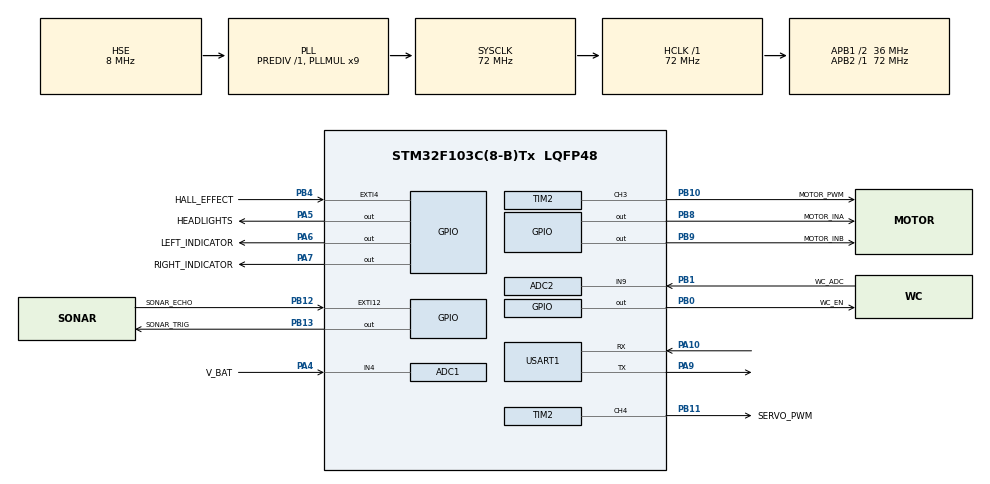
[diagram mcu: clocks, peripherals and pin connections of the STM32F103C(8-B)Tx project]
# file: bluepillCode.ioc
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Mcu.Family=STM32F1
NVIC.ADC1_2_IRQn=true\:0\:0\:false\:false\:true\:true\:true
Dma.USART1_TX.2.Direction=DMA_MEMORY_TO_PERIPH
NVIC.DMA1_Channel5_IRQn=true\:0\:0\:false\:false\:true\:false\:true
ADC1.ContinuousConvMode=ENABLE
ADC2.Channel-0\#ChannelRegularConversion=ADC_CHANNEL_9
PB0.GPIO_Label=WC_EN
PA6.GPIO_Label=LEFT_INDICATOR
NVIC.TIM1_UP_IRQn=true\:0\:0\:false\:false\:true\:false\:true
PB13.GPIO_Label=SONAR_TRIG
PB11.Signal=S_TIM2_CH4
PB13.Signal=GPIO_Output
RCC.SYSCLKSource=RCC_SYSCLKSOURCE_PLLCLK
ProjectManager.StackSize=0x400
PD1-OSC_OUT.Signal=RCC_OSC_OUT
TIM2.Pulse-PWM\ Generation3\ CH3=4918
RCC.HCLKFreq_Value=72000000
RCC.APB2TimFreq_Value=72000000
Dma.ADC1.0.Direction=DMA_PERIPH_TO_MEMORY
Dma.USART1_RX.1.MemInc=DMA_MINC_ENABLE
Dma.ADC1.0.MemDataAlignment=DMA_MDATAALIGN_HALFWORD
RCC.AHBFreq_Value=72000000
NVIC.EXTI15_10_IRQn=true\:0\:0\:false\:false\:true\:true\:true
ADC1.Channel-0\#ChannelRegularConversion=ADC_CHANNEL_4
Dma.USART1_RX.1.PeriphDataAlignment=DMA_PDATAALIGN_BYTE
TIM2.OCMode_PWM-PWM\ Generation3\ CH3=TIM_OCMODE_PWM1
RCC.PLLMUL=RCC_PLL_MUL9
PB12.GPIO_Label=SONAR_ECHO
PA14.Mode=Serial_Wire
VP_SYS_VS_tim1.Mode=TIM1
TIM3.Prescaler=72-1
Dma.ADC1.0.PeriphInc=DMA_PINC_DISABLE
PB1.GPIO_Label=WC_ADC
Dma.USART1_TX.2.PeriphDataAlignment=DMA_PDATAALIGN_BYTE
Dma.USART1_TX.2.MemDataAlignment=DMA_MDATAALIGN_BYTE
ADC1.SamplingTime-0\#ChannelRegularConversion=ADC_SAMPLETIME_1CYCLE_5
Dma.USART1_RX.1.Mode=DMA_CIRCULAR
Mcu.Package=LQFP48
PB9.Signal=GPIO_Output
TIM2.Prescaler=72-1
PA6.Signal=GPIO_Output
PB1.Signal=SharedAnalog_PB1
NVIC.TimeBase=TIM1_UP_IRQn
RCC.EnbaleCSS=true
NVIC.TimeBaseIP=TIM1
PA10.Signal=USART1_RX
ADC2.SamplingTime-0\#ChannelRegularConversion=ADC_SAMPLETIME_1CYCLE_5
Dma.USART1_RX.1.PeriphInc=DMA_PINC_DISABLE
Dma.Request2=USART1_TX
Dma.Request1=USART1_RX
RCC.APB1TimFreq_Value=72000000
Dma.USART1_RX.1.Priority=DMA_PRIORITY_LOW
NVIC.DMA1_Channel4_IRQn=true\:0\:0\:false\:false\:true\:false\:true
ADC2.Rank-0\#ChannelRegularConversion=1
NVIC.USART1_IRQn=true\:0\:0\:false\:false\:true\:true\:true
Dma.Request0=ADC1
PA4.GPIO_Label=V_BAT
VP_TIM3_VS_ClockSourceINT.Mode=Internal
PB4.Signal=GPXTI4
RCC.PLLSourceVirtual=RCC_PLLSOURCE_HSE
NVIC.EXTI4_IRQn=true\:0\:0\:false\:false\:true\:true\:true
Dma.USART1_RX.1.Instance=DMA1_Channel5
TIM2.Channel-PWM\ Generation4\ CH4=TIM_CHANNEL_4
Dma.ADC1.0.Instance=DMA1_Channel1
Dma.USART1_RX.1.MemDataAlignment=DMA_MDATAALIGN_BYTE
ADC1.Rank-0\#ChannelRegularConversion=1
PD1-OSC_OUT.Mode=HSE-External-Oscillator
PB9.GPIO_Label=MOTOR_INB
PA10.Mode=Asynchronous
Dma.USART1_TX.2.MemInc=DMA_MINC_ENABLE
PB11.GPIO_Label=SERVO_PWM
RCC.USBPrescaler=RCC_USBCLKSOURCE_PLL_DIV1_5
PD0-OSC_IN.Signal=RCC_OSC_IN
RCC.APB1CLKDivider=RCC_HCLK_DIV2
RCC.ADCPresc=RCC_ADCPCLK2_DIV6
PA13.Signal=SYS_JTMS-SWDIO
PB8.GPIO_Label=MOTOR_INA
Dma.ADC1.0.PeriphDataAlignment=DMA_PDATAALIGN_HALFWORD
PA9.Mode=Asynchronous
ADC2.ContinuousConvMode=ENABLE
ProjectManager.TargetToolchain=Other Toolchains (GPDSC)
PB10.GPIO_Label=MOTOR_PWM
Dma.ADC1.0.Mode=DMA_CIRCULAR
Dma.ADC1.0.Priority=DMA_PRIORITY_LOW
PA9.Signal=USART1_TX
RCC.USBFreq_Value=48000000
PD0-OSC_IN.Mode=HSE-External-Oscillator
PB10.Signal=S_TIM2_CH3
PA5.Signal=GPIO_Output
SH.SharedAnalog_PB1.0=GPIO_Analog
SH.SharedAnalog_PB1.1=ADC2_IN9,IN9
board=custom
NVIC.TIM3_IRQn=true\:0\:0\:false\:false\:true\:true\:true
RCC.APB2Freq_Value=72000000
PB4.GPIO_Label=HALL_EFFECT
VP_TIM2_VS_ClockSourceINT.Mode=Internal
SH.S_TIM2_CH3.0=TIM2_CH3,PWM Generation3 CH3
Dma.USART1_TX.2.Priority=DMA_PRIORITY_LOW
TIM2.Channel-PWM\ Generation3\ CH3=TIM_CHANNEL_3
SH.ADCx_IN4.0=ADC1_IN4,IN4
TIM2.Period=20000
PA13.Mode=Serial_Wire
Mcu.Name=STM32F103C(8-B)Tx
Dma.USART1_TX.2.PeriphInc=DMA_PINC_DISABLE
PA4.Signal=ADCx_IN4
RCC.SYSCLKFreq_VALUE=72000000
PA7.GPIO_Label=RIGHT_INDICATOR
ADC1.master=1
PA5.GPIO_Label=HEADLIGHTS
ADC2.NbrOfConversionFlag=1
USART1.VirtualMode=VM_ASYNC
PA14.Signal=SYS_JTCK-SWCLK
Dma.ADC1.0.MemInc=DMA_MINC_ENABLE
ProjectManager.HeapSize=0x200
SH.S_TIM2_CH4.0=TIM2_CH4,PWM Generation4 CH4
Dma.USART1_TX.2.Mode=DMA_NORMAL
NVIC.PriorityGroup=NVIC_PRIORITYGROUP_4
ADC1.NbrOfConversionFlag=1
Dma.USART1_TX.2.Instance=DMA1_Channel4
PB8.Signal=GPIO_Output
Dma.USART1_RX.1.Direction=DMA_PERIPH_TO_MEMORY
NVIC.DMA1_Channel1_IRQn=true\:0\:0\:false\:false\:true\:false\:true
RCC.APB1Freq_Value=36000000
PB0.Signal=GPIO_Output
PB12.Signal=GPXTI12
PA7.Signal=GPIO_Output

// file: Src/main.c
/* USER CODE BEGIN Header */
/**
  ******************************************************************************
  * @file           : main.c
  * @brief          : Main program body
  ******************************************************************************
  * @attention
  *
  * <h2><center>&copy; Copyright (c) 2020 STMicroelectronics.
  * All rights reserved.</center></h2>
  *
  * This software component is licensed by ST under BSD 3-Clause license,
  * the "License"; You may not use this file except in compliance with the
  * License. You may obtain a copy of the License at:
  *                        opensource.org/licenses/BSD-3-Clause
  *
  ******************************************************************************
  */
/* USER CODE END Header */

#include "main.h"
#include "adc.h"
#include "dma.h"
#include "tim.h"
#include "usart.h"
#include "gpio.h"

/* USER CODE BEGIN PD */
#define IN_PROGRESS 1
#define NOT_IN_PROGRESS 0
#define KILO 1000
#define MEGA KILO * 1000
#define SPEED_OF_SOUND 343
/* USER CODE END PD */

/* USER CODE BEGIN PV */
volatile int ultraCounter = 0;
volatile int time = 0;
volatile int sonicStartTime = 0;
volatile int sonicStopTime = 0;
volatile int sonicState = NOT_IN_PROGRESS;
volatile int distance = 0;
volatile int hallCount = 0;
/* USER CODE END PV */

void SystemClock_Config(void);

/* USER CODE BEGIN 0 */
int startEcho();
/* USER CODE END 0 */

int main(void)
{

  /* MCU Configuration--------------------------------------------------------*/

  /* Reset of all peripherals, Initializes the Flash interface and the Systick. */
  HAL_Init();

  /* Configure the system clock */
  SystemClock_Config();

  /* Initialize all configured peripherals */
  MX_GPIO_Init();
  MX_DMA_Init();
  MX_ADC1_Init();
  MX_TIM2_Init();
  MX_USART1_UART_Init();
  MX_TIM3_Init();
  MX_ADC2_Init();
  /* USER CODE BEGIN 2 */
  /*Motor PWM*/
  TIM_OC_InitTypeDef strPwm;
  strPwm.OCMode = TIM_OCMODE_PWM1; // Set pwm mode to 1
  strPwm.OCPolarity = TIM_OCPOLARITY_HIGH; // Non inverted pwm
  strPwm.OCFastMode = TIM_OCFAST_DISABLE; // Fast mode??
  strPwm.Pulse = 1000;

  HAL_TIM_PWM_ConfigChannel(&htim2, &strPwm, TIM_CHANNEL_4); // "Uploads the information into a temp register
  HAL_TIM_PWM_Start(&htim2, TIM_CHANNEL_4); // Moves that temp register forward

  /*Servo PWM*/
  TIM_OC_InitTypeDef servoPwm;
  servoPwm.OCMode = TIM_OCMODE_PWM1;
  servoPwm.OCPolarity = TIM_OCPOLARITY_HIGH;
  servoPwm.OCFastMode = TIM_OCFAST_DISABLE;
  HAL_TIM_PWM_ConfigChannel(&htim2, &servoPwm, TIM_CHANNEL_3);
  HAL_TIM_PWM_Start(&htim2, TIM_CHANNEL_3);

  servoPwm.Pulse = 0;

  HAL_TIM_Base_Start_IT(&htim3); //Not sure if we are still using this timer.

  HAL_GPIO_WritePin(MOTOR_INA_GPIO_Port, MOTOR_INA_Pin, SET);
  HAL_GPIO_WritePin(MOTOR_INB_GPIO_Port, MOTOR_INB_Pin, RESET);

  /* USER CODE END 2 */

  /* Infinite loop */
  /* USER CODE BEGIN WHILE */
  while (1)
  {
    if(sonicState == NOT_IN_PROGRESS)
    {
      startEcho();
    }
    if(ultraCounter >= 10)
    {
      stopEcho();
    }
    /* USER CODE END WHILE */

  }
}

void SystemClock_Config(void)
{
  RCC_OscInitTypeDef RCC_OscInitStruct = {0};
  RCC_ClkInitTypeDef RCC_ClkInitStruct = {0};
  RCC_PeriphCLKInitTypeDef PeriphClkInit = {0};

  /** Initializes the CPU, AHB and APB busses clocks
  */
  RCC_OscInitStruct.OscillatorType = RCC_OSCILLATORTYPE_HSE;
  RCC_OscInitStruct.HSEState = RCC_HSE_ON;
  RCC_OscInitStruct.HSEPredivValue = RCC_HSE_PREDIV_DIV1;
  RCC_OscInitStruct.HSIState = RCC_HSI_ON;
  RCC_OscInitStruct.PLL.PLLState = RCC_PLL_ON;
  RCC_OscInitStruct.PLL.PLLSource = RCC_PLLSOURCE_HSE;
  RCC_OscInitStruct.PLL.PLLMUL = RCC_PLL_MUL9;
  if (HAL_RCC_OscConfig(&RCC_OscInitStruct) != HAL_OK)
  {
    Error_Handler();
  }
  /** Initializes the CPU, AHB and APB busses clocks
  */
  RCC_ClkInitStruct.ClockType = RCC_CLOCKTYPE_HCLK|RCC_CLOCKTYPE_SYSCLK
                              |RCC_CLOCKTYPE_PCLK1|RCC_CLOCKTYPE_PCLK2;
  RCC_ClkInitStruct.SYSCLKSource = RCC_SYSCLKSOURCE_PLLCLK;
  RCC_ClkInitStruct.AHBCLKDivider = RCC_SYSCLK_DIV1;
  RCC_ClkInitStruct.APB1CLKDivider = RCC_HCLK_DIV2;
  RCC_ClkInitStruct.APB2CLKDivider = RCC_HCLK_DIV1;

  if (HAL_RCC_ClockConfig(&RCC_ClkInitStruct, FLASH_LATENCY_2) != HAL_OK)
  {
    Error_Handler();
  }
  PeriphClkInit.PeriphClockSelection = RCC_PERIPHCLK_ADC;
  PeriphClkInit.AdcClockSelection = RCC_ADCPCLK2_DIV6;
  if (HAL_RCCEx_PeriphCLKConfig(&PeriphClkInit) != HAL_OK)
  {
    Error_Handler();
  }
  /** Enables the Clock Security System
  */
  HAL_RCC_EnableCSS();
}

/* USER CODE BEGIN 4 */
int startEcho()
{
  HAL_GPIO_WritePin(SONAR_ECHO_GPIO_Port, SONAR_TRIG_Pin, GPIO_PIN_SET);
  ultraCounter = 0;
  sonicStartTime = time;
  sonicState = IN_PROGRESS;
  return 0;
}

int stopEcho()
{
  HAL_GPIO_WritePin(SONAR_ECHO_GPIO_Port, SONAR_ECHO_Pin, GPIO_PIN_RESET);
  return 0;
}

void HAL_GPIO_EXTI_Callback(uint16_t GPIO_Pin)
{
  if(GPIO_Pin == SONAR_ECHO_Pin)
  {
    sonicStopTime = time;
    sonicState = NOT_IN_PROGRESS;
    distance = (sonicStopTime - sonicStartTime) * MEGA * SPEED_OF_SOUND;
  }

  if(GPIO_Pin == HALL_EFFECT_Pin)
  {/* USER CODE BEGIN Header */
/**
  ******************************************************************************
  * @file           : main.c
  * @brief          : Main program body
  ******************************************************************************
  * @attention
  *
  * <h2><center>&copy; Copyright (c) 2020 STMicroelectronics.
  * All rights reserved.</center></h2>
  *
  * This software component is licensed by ST under BSD 3-Clause license,
  * the "License"; You may not use this file except in compliance with the
  * License. You may obtain a copy of the License at:
  *                        opensource.org/licenses/BSD-3-Clause
  *
  ******************************************************************************
  */
/* USER CODE END Header */

/* Includes ------------------------------------------------------------------*/
#include "main.h"
#include "adc.h"
#include "dma.h"
#include "tim.h"
#include "usart.h"
#include "gpio.h"

/* Private includes ----------------------------------------------------------*/
/* USER CODE BEGIN Includes */

/* USER CODE END Includes */

/* Private typedef -----------------------------------------------------------*/
/* USER CODE BEGIN PTD */

/* USER CODE END PTD */

/* Private define ------------------------------------------------------------*/
/* USER CODE BEGIN PD */
#define IN_PROGRESS 1
#define NOT_IN_PROGRESS 0
#define KILO 1000
#define MEGA KILO * 1000
#define SPEED_OF_SOUND 343
/* USER CODE END PD */

/* Private macro -------------------------------------------------------------*/
/* USER CODE BEGIN PM */

/* USER CODE END PM */

/* Private variables ---------------------------------------------------------*/

/* USER CODE BEGIN PV */
volatile int ultraCounter = 0;
volatile int time = 0;
volatile int sonicStartTime = 0;
volatile int sonicStopTime = 0;
volatile int sonicState = NOT_IN_PROGRESS;
volatile int distance = 0;
/* USER CODE END PV */

/* Private function prototypes -----------------------------------------------*/
void SystemClock_Config(void);
/* USER CODE BEGIN PFP */

/* USER CODE END PFP */

/* Private user code ---------------------------------------------------------*/
/* USER CODE BEGIN 0 */
int startEcho();
/* USER CODE END 0 */

/**
  * @brief  The application entry point.
  * @retval int
  */
int main(void)
{
  /* USER CODE BEGIN 1 */

  /* USER CODE END 1 */

  /* MCU Configuration--------------------------------------------------------*/

  /* Reset of all peripherals, Initializes the Flash interface and the Systick. */
  HAL_Init();

  /* USER CODE BEGIN Init */

  /* USER CODE END Init */

  /* Configure the system clock */
  SystemClock_Config();

  /* USER CODE BEGIN SysInit */

  /* USER CODE END SysInit */

  /* Initialize all configured peripherals */
  MX_GPIO_Init();
  MX_DMA_Init();
  MX_ADC1_Init();
  MX_TIM2_Init();
  MX_USART1_UART_Init();
  MX_TIM3_Init();
  MX_ADC2_Init();
  /* USER CODE BEGIN 2 */
  TIM_OC_InitTypeDef strPwm;
  strPwm.OCMode = TIM_OCMODE_PWM1; // Set pwm mode to 1
  strPwm.OCPolarity = TIM_OCPOLARITY_HIGH; // Non inverted pwm
  strPwm.OCFastMode = TIM_OCFAST_DISABLE; // Fast mode??
  strPwm.Pulse = 9000;

  HAL_TIM_PWM_ConfigChannel(&htim2, &strPwm, TIM_CHANNEL_4); // "Uploads the information into a temp register
  HAL_TIM_PWM_Start(&htim2, TIM_CHANNEL_4); // Moves that temp register forward
  HAL_TIM_Base_Start_IT(&htim3);

  HAL_GPIO_WritePin(MOTOR_INA_GPIO_Port, MOTOR_INA_Pin, SET);
  HAL_GPIO_WritePin(MOTOR_INB_GPIO_Port, MOTOR_INB_Pin, RESET);

  /* USER CODE END 2 */

  /* Infinite loop */
  /* USER CODE BEGIN WHILE */
  while (1)
  {
    if(sonicState == NOT_IN_PROGRESS)
    {
      startEcho();
    }
    if(ultraCounter >= 10)
    {
      stopEcho();
    }
    /* USER CODE END WHILE */

    /* USER CODE BEGIN 3 */
  }
  /* USER CODE END 3 */
}

/**
  * @brief System Clock Configuration
  * @retval None
  */
void SystemClock_Config(void)
{
  RCC_OscInitTypeDef RCC_OscInitStruct = {0};
  RCC_ClkInitTypeDef RCC_ClkInitStruct = {0};
  RCC_PeriphCLKInitTypeDef PeriphClkInit = {0};

  /** Initializes the CPU, AHB and APB busses clocks
  */
  RCC_OscInitStruct.OscillatorType = RCC_OSCILLATORTYPE_HSE;
  RCC_OscInitStruct.HSEState = RCC_HSE_ON;
  RCC_OscInitStruct.HSEPredivValue = RCC_HSE_PREDIV_DIV1;
  RCC_OscInitStruct.HSIState = RCC_HSI_ON;
  RCC_OscInitStruct.PLL.PLLState = RCC_PLL_ON;
  RCC_OscInitStruct.PLL.PLLSource = RCC_PLLSOURCE_HSE;
  RCC_OscInitStruct.PLL.PLLMUL = RCC_PLL_MUL9;
  if (HAL_RCC_OscConfig(&RCC_OscInitStruct) != HAL_OK)
  {
    Error_Handler();
  }
  /** Initializes the CPU, AHB and APB busses clocks
  */
  RCC_ClkInitStruct.ClockType = RCC_CLOCKTYPE_HCLK|RCC_CLOCKTYPE_SYSCLK
                              |RCC_CLOCKTYPE_PCLK1|RCC_CLOCKTYPE_PCLK2;
  RCC_ClkInitStruct.SYSCLKSource = RCC_SYSCLKSOURCE_PLLCLK;
  RCC_ClkInitStruct.AHBCLKDivider = RCC_SYSCLK_DIV1;
  RCC_ClkInitStruct.APB1CLKDivider = RCC_HCLK_DIV2;
  RCC_ClkInitStruct.APB2CLKDivider = RCC_HCLK_DIV1;

  if (HAL_RCC_ClockConfig(&RCC_ClkInitStruct, FLASH_LATENCY_2) != HAL_OK)
  {
    Error_Handler();
  }
  PeriphClkInit.PeriphClockSelection = RCC_PERIPHCLK_ADC;
  PeriphClkInit.AdcClockSelection = RCC_ADCPCLK2_DIV6;
  if (HAL_RCCEx_PeriphCLKConfig(&PeriphClkInit) != HAL_OK)
  {
    Error_Handler();
  }
  /** Enables the Clock Security System
  */
  HAL_RCC_EnableCSS();
}

/* USER CODE BEGIN 4 */
int startEcho()
{
  HAL_GPIO_WritePin(SONAR_ECHO_GPIO_Port, SONAR_TRIG_Pin, GPIO_PIN_SET);
  ultraCounter = 0;
  sonicStartTime = time;
  sonicState = IN_PROGRESS;
  return 0;
}

int stopEcho()
{
  HAL_GPIO_WritePin(SONAR_ECHO_GPIO_Port, SONAR_ECHO_Pin, GPIO_PIN_RESET);
  return 0;
}

void HAL_GPIO_EXTI_Callback(uint16_t GPIO_Pin)
{
  sonicStopTime = time;
  sonicState = NOT_IN_PROGRESS;
  distance = (sonicStopTime - sonicStartTime) * MEGA * SPEED_OF_SOUND;
}
/* USER CODE END 4 */

 /**
  * @brief  Period elapsed callback in non blocking mode
  * @note   This function is called  when TIM1 interrupt took place, inside
  * HAL_TIM_IRQHandler(). It makes a direct call to HAL_IncTick() to increment
  * a global variable "uwTick" used as application time base.
  * @param  htim : TIM handle
  * @retval None
  */
void HAL_TIM_PeriodElapsedCallback(TIM_HandleTypeDef *htim)
{
  if (htim->Instance == TIM1) {
    HAL_IncTick();
  }
  /* USER CODE BEGIN Callback 1 */
  if(htim->Instance == TIM3)
  {
    ultraCounter++;
    time++;
  }
  /* USER CODE END Callback 1 */
}

void Error_Handler(void)
{
}

/************************ (C) COPYRIGHT STMicroelectronics *****END OF FILE****/

    hallCount++;
  }
}
/* USER CODE END 4 */

 /**
  * @brief  Period elapsed callback in non blocking mode
  * @note   This function is called  when TIM1 interrupt took place, inside
  * HAL_TIM_IRQHandler(). It makes a direct call to HAL_IncTick() to increment
  * a global variable "uwTick" used as application time base.
  * @param  htim : TIM handle
  * @retval None
  */
void HAL_TIM_PeriodElapsedCallback(TIM_HandleTypeDef *htim)
{
  if (htim->Instance == TIM1) {
    HAL_IncTick();
  }
  /* USER CODE BEGIN Callback 1 */
  if(htim->Instance == TIM3)
  {
    ultraCounter++;
    time++;
  }
  /* USER CODE END Callback 1 */
}

void Error_Handler(void)
{
}

/************************ (C) COPYRIGHT STMicroelectronics *****END OF FILE****/
